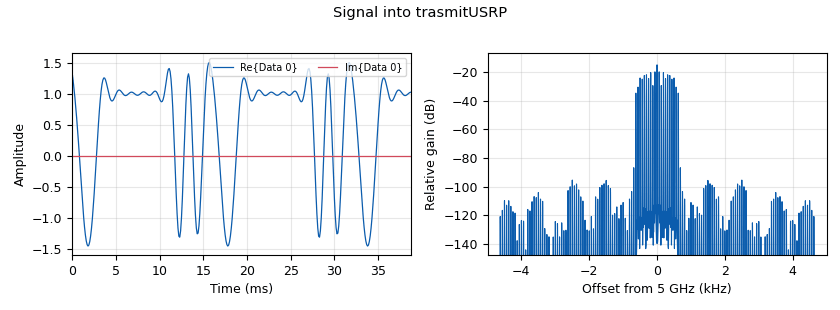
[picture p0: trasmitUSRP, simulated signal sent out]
<?xml version='1.0' encoding='utf-8'?>
<?grc format='1' created='3.7.5'?>
<flow_graph>
<block>
<key>options</key>
<param><key>id</key><value>USRP_radar_transmitter_proto</value></param>
<param><key>generate_options</key><value>wx_gui</value></param>
<param><key>category</key><value>Custom</value></param>
</block>
<block>
<key>variable</key>
<param><key>id</key><value>rfFreq</value></param>
<param><key>value</key><value>5e9</value></param>
</block>
<block>
<key>variable</key>
<param><key>id</key><value>transmitSampRate</value></param>
<param><key>value</key><value>10e3</value></param>
</block>
<block>
<key>variable</key>
<param><key>id</key><value>symbol_dur</value></param>
<param><key>value</key><value>0.001</value></param>
</block>
<block>
<key>uhd_usrp_sink</key>
<param><key>id</key><value>trasmitUSRP</value></param>
<param><key>type</key><value>fc32</value></param>
<param><key>dev_addr</key><value>"addr=192.168.10.2"</value></param>
<param><key>dev_args</key><value>""</value></param>
<param><key>sync</key><value></value></param>
<param><key>clock_rate</key><value>0.0</value></param>
<param><key>samp_rate</key><value>transmitSampRate</value></param>
<param><key>center_freq0</key><value>rfFreq</value></param>
<param><key>gain0</key><value>20</value></param>
<param><key>ant0</key><value>TX/RX</value></param>
<param><key>len_tag_name</key><value></value></param>
</block>
<block>
<key>rational_resampler_xxx</key>
<param><key>id</key><value>rational_resampler_xxx_0</value></param>
<param><key>type</key><value>ccc</value></param>
<param><key>interp</key><value>1</value></param>
<param><key>decim</key><value>1</value></param>
<param><key>taps</key><value></value></param>
</block>
<block>
<key>digital_dxpsk_mod</key>
<param><key>id</key><value>digital_dxpsk_mod_0</value></param>
<param><key>type</key><value>dbpsk</value></param>
<param><key>samples_per_symbol</key><value>int(transmitSampRate * symbol_dur)</value></param>
<param><key>excess_bw</key><value>0.35</value></param>
<param><key>mod_code</key><value>"gray"</value></param>
<param><key>verbose</key><value>False</value></param>
<param><key>log</key><value>False</value></param>
</block>
<block>
<key>blocks_vector_source_x</key>
<param><key>id</key><value>transmitBarkerCode</value></param>
<param><key>type</key><value>byte</value></param>
<param><key>vector</key><value>(245, 0)</value></param>
<param><key>repeat</key><value>True</value></param>
</block>
<connection><source_block_id>transmitBarkerCode</source_block_id><sink_block_id>digital_dxpsk_mod_0</sink_block_id><source_key>0</source_key><sink_key>0</sink_key></connection>
<connection><source_block_id>digital_dxpsk_mod_0</source_block_id><sink_block_id>rational_resampler_xxx_0</sink_block_id><source_key>0</source_key><sink_key>0</sink_key></connection>
<connection><source_block_id>rational_resampler_xxx_0</source_block_id><sink_block_id>trasmitUSRP</sink_block_id><source_key>0</source_key><sink_key>0</sink_key></connection>
</flow_graph>
